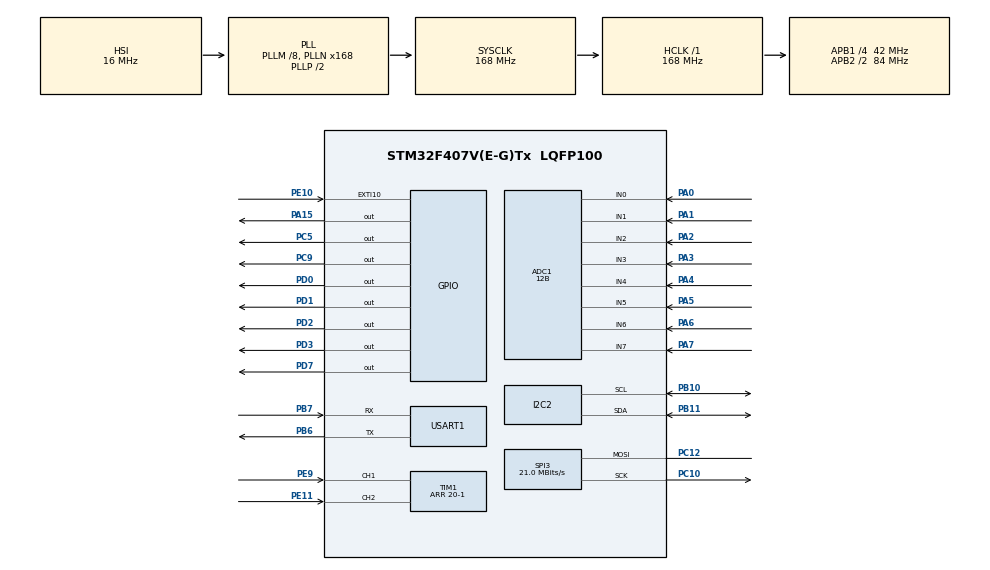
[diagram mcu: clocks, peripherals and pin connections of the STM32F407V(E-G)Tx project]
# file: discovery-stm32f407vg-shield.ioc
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ADC1.Channel-0\#ChannelRegularConversion=ADC_CHANNEL_0
ADC1.Channel-1\#ChannelRegularConversion=ADC_CHANNEL_1
ADC1.Channel-2\#ChannelRegularConversion=ADC_CHANNEL_2
ADC1.Channel-3\#ChannelRegularConversion=ADC_CHANNEL_3
ADC1.Channel-4\#ChannelRegularConversion=ADC_CHANNEL_4
ADC1.Channel-5\#ChannelRegularConversion=ADC_CHANNEL_5
ADC1.Channel-6\#ChannelRegularConversion=ADC_CHANNEL_6
ADC1.Channel-7\#ChannelRegularConversion=ADC_CHANNEL_7
ADC1.Channel-8\#ChannelRegularConversion=ADC_CHANNEL_VREFINT
ADC1.ClockPrescaler=ADC_CLOCK_SYNC_PCLK_DIV4
ADC1.ContinuousConvMode=ENABLE
ADC1.DMAContinuousRequests=ENABLE
ADC1.NbrOfConversion=9
ADC1.NbrOfConversionFlag=1
ADC1.Rank-0\#ChannelRegularConversion=1
ADC1.Rank-1\#ChannelRegularConversion=2
ADC1.Rank-2\#ChannelRegularConversion=3
ADC1.Rank-3\#ChannelRegularConversion=4
ADC1.Rank-4\#ChannelRegularConversion=5
ADC1.Rank-5\#ChannelRegularConversion=6
ADC1.Rank-6\#ChannelRegularConversion=7
ADC1.Rank-7\#ChannelRegularConversion=8
ADC1.Rank-8\#ChannelRegularConversion=9
ADC1.Resolution=ADC_RESOLUTION_12B
ADC1.SamplingTime-0\#ChannelRegularConversion=ADC_SAMPLETIME_56CYCLES
ADC1.SamplingTime-1\#ChannelRegularConversion=ADC_SAMPLETIME_56CYCLES
ADC1.SamplingTime-2\#ChannelRegularConversion=ADC_SAMPLETIME_56CYCLES
ADC1.SamplingTime-3\#ChannelRegularConversion=ADC_SAMPLETIME_56CYCLES
ADC1.SamplingTime-4\#ChannelRegularConversion=ADC_SAMPLETIME_56CYCLES
ADC1.SamplingTime-5\#ChannelRegularConversion=ADC_SAMPLETIME_56CYCLES
ADC1.SamplingTime-6\#ChannelRegularConversion=ADC_SAMPLETIME_56CYCLES
ADC1.SamplingTime-7\#ChannelRegularConversion=ADC_SAMPLETIME_56CYCLES
ADC1.SamplingTime-8\#ChannelRegularConversion=ADC_SAMPLETIME_56CYCLES
ADC1.ScanConvMode=ENABLE
ADC1.master=1
Dma.ADC1.0.Direction=DMA_PERIPH_TO_MEMORY
Dma.ADC1.0.FIFOMode=DMA_FIFOMODE_DISABLE
Dma.ADC1.0.Instance=DMA2_Stream0
Dma.ADC1.0.MemDataAlignment=DMA_MDATAALIGN_WORD
Dma.ADC1.0.MemInc=DMA_MINC_ENABLE
Dma.ADC1.0.Mode=DMA_CIRCULAR
Dma.ADC1.0.PeriphDataAlignment=DMA_PDATAALIGN_WORD
Dma.ADC1.0.PeriphInc=DMA_PINC_DISABLE
Dma.ADC1.0.Priority=DMA_PRIORITY_VERY_HIGH
Dma.Request0=ADC1
Dma.Request1=USART1_RX
Dma.Request2=USART1_TX
Dma.USART1_RX.1.Direction=DMA_PERIPH_TO_MEMORY
Dma.USART1_RX.1.FIFOMode=DMA_FIFOMODE_DISABLE
Dma.USART1_RX.1.Instance=DMA2_Stream5
Dma.USART1_RX.1.MemDataAlignment=DMA_MDATAALIGN_BYTE
Dma.USART1_RX.1.MemInc=DMA_MINC_ENABLE
Dma.USART1_RX.1.Mode=DMA_NORMAL
Dma.USART1_RX.1.PeriphDataAlignment=DMA_PDATAALIGN_BYTE
Dma.USART1_RX.1.PeriphInc=DMA_PINC_DISABLE
Dma.USART1_RX.1.Priority=DMA_PRIORITY_LOW
Dma.USART1_TX.2.Direction=DMA_MEMORY_TO_PERIPH
Dma.USART1_TX.2.FIFOMode=DMA_FIFOMODE_DISABLE
Dma.USART1_TX.2.Instance=DMA2_Stream7
Dma.USART1_TX.2.MemDataAlignment=DMA_MDATAALIGN_BYTE
Dma.USART1_TX.2.MemInc=DMA_MINC_ENABLE
Dma.USART1_TX.2.Mode=DMA_NORMAL
Dma.USART1_TX.2.PeriphDataAlignment=DMA_PDATAALIGN_BYTE
Dma.USART1_TX.2.PeriphInc=DMA_PINC_DISABLE
Dma.USART1_TX.2.Priority=DMA_PRIORITY_LOW
Mcu.Family=STM32F4
Mcu.Name=STM32F407V(E-G)Tx
Mcu.Package=LQFP100
NVIC.DMA2_Stream0_IRQn=true\:0\:0\:false\:false\:true\:false\:true
NVIC.DMA2_Stream5_IRQn=true\:0\:0\:false\:false\:true\:false\:true
NVIC.DMA2_Stream7_IRQn=true\:0\:0\:false\:false\:true\:false\:true
NVIC.EXTI15_10_IRQn=true\:0\:0\:false\:false\:true\:true\:true
NVIC.PriorityGroup=NVIC_PRIORITYGROUP_4
NVIC.TIM1_UP_TIM10_IRQn=true\:0\:0\:false\:false\:true\:true\:true
PA0-WKUP.Signal=ADCx_IN0
PA1.Signal=ADCx_IN1
PA13.Mode=Serial_Wire
PA13.Signal=SYS_JTMS-SWDIO
PA14.Mode=Serial_Wire
PA14.Signal=SYS_JTCK-SWCLK
PA15.Signal=GPIO_Output
PA2.Signal=ADCx_IN2
PA3.Signal=ADCx_IN3
PA4.Signal=ADCx_IN4
PA5.Signal=ADCx_IN5
PA6.Signal=ADCx_IN6
PA7.Signal=ADCx_IN7
PB10.GPIO_Pu=GPIO_PULLUP
PB10.Mode=I2C
PB10.Signal=I2C2_SCL
PB11.GPIO_Pu=GPIO_PULLUP
PB11.Mode=I2C
PB11.Signal=I2C2_SDA
PB6.Mode=Asynchronous
PB6.Signal=USART1_TX
PB7.Mode=Asynchronous
PB7.Signal=USART1_RX
PC10.Mode=Simplex_Bidirectional_Master
PC10.Signal=SPI3_SCK
PC12.Mode=Simplex_Bidirectional_Master
PC12.Signal=SPI3_MOSI
PC5.Signal=GPIO_Output
PC9.Signal=GPIO_Output
PD0.GPIO_Speed=GPIO_SPEED_FREQ_VERY_HIGH
PD0.Signal=GPIO_Output
PD1.GPIO_Speed=GPIO_SPEED_FREQ_VERY_HIGH
PD1.Signal=GPIO_Output
PD2.GPIO_Speed=GPIO_SPEED_FREQ_VERY_HIGH
PD2.Signal=GPIO_Output
PD3.GPIO_Speed=GPIO_SPEED_FREQ_VERY_HIGH
PD3.Signal=GPIO_Output
PD7.Signal=GPIO_Output
PE10.Signal=GPXTI10
PE11.Signal=S_TIM1_CH2
PE9.Signal=S_TIM1_CH1
PH0-OSC_IN.Mode=HSE-External-Oscillator
PH0-OSC_IN.Signal=RCC_OSC_IN
PH1-OSC_OUT.Mode=HSE-External-Oscillator
PH1-OSC_OUT.Signal=RCC_OSC_OUT
ProjectManager.HeapSize=0x200
ProjectManager.StackSize=0x400
ProjectManager.TargetToolchain=STM32CubeIDE
RCC.48MHZClocksFreq_Value=84000000
RCC.AHBFreq_Value=168000000
RCC.APB1CLKDivider=RCC_HCLK_DIV4
RCC.APB1Freq_Value=42000000
RCC.APB1TimFreq_Value=84000000
RCC.APB2CLKDivider=RCC_HCLK_DIV2
RCC.APB2Freq_Value=84000000
RCC.APB2TimFreq_Value=168000000
RCC.CortexFreq_Value=168000000
RCC.HCLKFreq_Value=168000000
RCC.HSE_VALUE=8000000
RCC.HSI_VALUE=16000000
RCC.LSE_VALUE=32768
RCC.PLLM=8
RCC.PLLN=168
RCC.SYSCLKFreq_VALUE=168000000
RCC.SYSCLKSource=RCC_SYSCLKSOURCE_PLLCLK
RCC.VCOOutputFreq_Value=336000000
SH.ADCx_IN0.0=ADC1_IN0,IN0
SH.ADCx_IN1.0=ADC1_IN1,IN1
SH.ADCx_IN2.0=ADC1_IN2,IN2
SH.ADCx_IN3.0=ADC1_IN3,IN3
SH.ADCx_IN4.0=ADC1_IN4,IN4
SH.ADCx_IN5.0=ADC1_IN5,IN5
SH.ADCx_IN6.0=ADC1_IN6,IN6
SH.ADCx_IN7.0=ADC1_IN7,IN7
SH.S_TIM1_CH1.0=TIM1_CH1,Encoder_Interface
SH.S_TIM1_CH2.0=TIM1_CH2,Encoder_Interface
SPI3.CalculateBaudRate=21.0 MBits/s
SPI3.Direction=SPI_DIRECTION_1LINE
SPI3.Mode=SPI_MODE_MASTER
SPI3.VirtualType=VM_MASTER
TIM1.Period=20-1
USART1.VirtualMode=VM_ASYNC
VP_ADC1_Vref_Input.Mode=IN-Vrefint
board=custom

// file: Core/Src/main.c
/* USER CODE BEGIN Header */
/**
  ******************************************************************************
  * @file           : main.c
  * @brief          : Main program body
  ******************************************************************************
  * @attention
  *
  * <h2><center>&copy; Copyright (c) 2020 STMicroelectronics.
  * All rights reserved.</center></h2>
  *
  * This software component is licensed by ST under BSD 3-Clause license,
  * the "License"; You may not use this file except in compliance with the
  * License. You may obtain a copy of the License at:
  *                        opensource.org/licenses/BSD-3-Clause
  *
  ******************************************************************************
  */
/* USER CODE END Header */
#include "main.h"
#include "adc.h"
#include "dma.h"
#include "i2c.h"
#include "spi.h"
#include "tim.h"
#include "usart.h"
#include "gpio.h"

/* USER CODE BEGIN Includes */
//includes all user defined headers
#include "system.h"
/* USER CODE END Includes */

/* USER CODE BEGIN PD */
#define ADC_VREFINT_NUMBER 8
#define THERMISTORS_FIR_NUMBER 4
#define PHOTODIODES_FIR_NUMBER 4
/* USER CODE END PD */

/* USER CODE BEGIN PV */
_Bool FIR_flag = false;
FIRFilter moving_average_thermistors[THERMISTORS_FIR_NUMBER];
FIRFilter moving_average_photodiodes[PHOTODIODES_FIR_NUMBER];

	/*
	 * ---- INFO ----
	 *
	 * THERMISTORS
	 * ADC1read[0]  - thermistor[0]
	 * ADC1read[1]  - thermistor[1]
	 * ADC1read[2]  - thermistor[2]
	 * ADC1read[3]  - thermistor[3]
	 *
	 * PHOTODIODES
	 * ADC1read[4]  - photodiode[0]
	 * ADC1read[5]  - photodiode[1]
	 * ADC1read[6]  - photodiode[2]
	 * ADC1read[7]  - photodiode[3]
	 *
	 * VREFINT
	 * ADC1read[8]  - vref internal channel
	 */

/* USER CODE END PV */

void SystemClock_Config(void);
/* USER CODE BEGIN PFP */
_Bool Average_IsLimit(DAQ_channel_no);
void menu_encoder_event(void);
void display_values(void);
void calculate_thermistors_data(void);
void calculate_photodiodes_data(void);
void send_thermistors_data(void);
void send_photodiodes_data(void);
void HAL_TIM_PeriodElapsedCallback(TIM_HandleTypeDef *htim);
void HAL_UART_RxCpltCallback(UART_HandleTypeDef *huart);
void HAL_ADC_ConvCpltCallback(ADC_HandleTypeDef *hadc);

/* USER CODE END PFP */

int main(void)
{

  /* MCU Configuration--------------------------------------------------------*/

  /* Reset of all peripherals, Initializes the Flash interface and the Systick. */
  HAL_Init();

  /* Configure the system clock */
  SystemClock_Config();

  /* Initialize all configured peripherals */
  MX_GPIO_Init();
  MX_DMA_Init();
  MX_ADC1_Init();
  MX_USART1_UART_Init();
  MX_I2C2_Init();
  MX_SPI3_Init();
  MX_TIM1_Init();
  /* USER CODE BEGIN 2 */
/* -------------------------------------------------------------------------------- */
/* -- TIMERS START -- */
/* -------------------------------------------------------------------------------- */
  HAL_TIM_Encoder_Start(&htim1, TIM_CHANNEL_ALL);
 // HAL_TIM_Base_Start_IT(&htim10);

/* -------------------------------------------------------------------------------- */
/* -- USART Rx DMA START -- */
/* -------------------------------------------------------------------------------- */
//  HAL_UART_Receive_DMA(&huart1, Received, 13);

/* -------------------------------------------------------------------------------- */
/* -- CREATE ENCODER -- */
/* -------------------------------------------------------------------------------- */
  encoder_struct_init(&encoder_1, &htim1);

/* -------------------------------------------------------------------------------- */
/* -- LCD ST7735 SCREEN INIT -- */
/* -------------------------------------------------------------------------------- */
  ST7735_Init(1);

/* -------------------------------------------------------------------------------- */
/* -- MENU INIT -- */
/* -------------------------------------------------------------------------------- */
  GUI_init();
  Menu_Show();

/* -------------------------------------------------------------------------------- */
/* -- ADC1 START 9 channels -- */
/* -------------------------------------------------------------------------------- */
  HAL_ADC_Start_DMA(&hadc1, (uint32_t*)ADC1read, 9);   // frequency > 10kHz( 0.1 ms/100us )

/* -------------------------------------------------------------------------------- */
/* -- Initialise channels  -- */
/* -------------------------------------------------------------------------------- */
  DAQ_channel_init(DAQ_CH1, CHANNEL_1_GPIO_TypeDef, CHANNEL_1_GPIO_Pin, &thermistor[0], &photodiode[0]);
  DAQ_channel_init(DAQ_CH2, CHANNEL_2_GPIO_TypeDef, CHANNEL_2_GPIO_Pin, &thermistor[1], &photodiode[1]);
  DAQ_channel_init(DAQ_CH3, CHANNEL_3_GPIO_TypeDef, CHANNEL_3_GPIO_Pin, &thermistor[2], &photodiode[2]);
  DAQ_channel_init(DAQ_CH4, CHANNEL_4_GPIO_TypeDef, CHANNEL_4_GPIO_Pin, &thermistor[3], &photodiode[3]);

  HAL_Delay(500);

  DAQ_channel_set_th_limit(DAQ_CH1, 2500);
  DAQ_channel_set_ph_limit(DAQ_CH1, 50000);

  DAQ_channel_set_th_limit(DAQ_CH2, 2500);
  DAQ_channel_set_ph_limit(DAQ_CH2, 50000);

  DAQ_channel_set_th_limit(DAQ_CH3, 2500);
  DAQ_channel_set_ph_limit(DAQ_CH3, 50000);

  DAQ_channel_set_th_limit(DAQ_CH4, 2500);
  DAQ_channel_set_ph_limit(DAQ_CH4, 50000);

  for(uint8_t i = 0; i < THERMISTORS_FIR_NUMBER; i++) {
	  FIRFilter_Init(&moving_average_thermistors[i]);
  }
  for(uint8_t i = 0; i < PHOTODIODES_FIR_NUMBER; i++) {
  	  FIRFilter_Init(&moving_average_photodiodes[i]);
  }

  /* USER CODE END 2 */

  /* Infinite loop */
  /* USER CODE BEGIN WHILE */

  menu_flags.flag_encoder_event = true;
  uint32_t value = 0;
  while (1)
  {
	if(menu_flags.flag_function && !menu_flags.flag_CHANGE_value && !menu_flags.flag_change_finish && encoder_enter(&encoder_1))  {
		menu_flags.flag_function = false;
		menu_flags.flag_display_measurements = false;
		menu_flags.flag_show_menu = true;
	}

	if(!menu_flags.flag_function && !menu_flags.flag_CHANGE_value) {
		menu_encoder_event();
	}

	if(menu_flags.flag_clear_screen) {
		ST7735_FillScreen(BLACK);
		menu_flags.flag_clear_screen = false;
	}

	if(menu_flags.flag_show_menu) {
		ST7735_FillScreen(BLACK);
		Menu_Show();
		menu_flags.flag_show_menu = false;
	}

	if(menu_flags.flag_function) {

		for(uint8_t i = 0; i<NUMBER_OF_CHANNELS; i++) {
			if(DAQ_channel_get_flag_enable(i)) {
				DAQ_CHANGE_enable(i);
				DAQ_channel_set_flag_enable(i, false);
			}

			else if(DAQ_channel_get_flag_th_limit(i)) {

				if(menu_flags.flag_change_finish) {
					DAQ_channel_set_th_limit(i,value);
					menu_flags.flag_change_finish = false;
					menu_flags.flag_CHANGE_value = false;
					menu_flags.flag_CHANGE_cursor = false;
					menu_flags.flag_CHANGE_temperature = false;

				}
				else {
					value = DAQ_channel_get_th_limit(i);
					menu_flags.flag_CHANGE_value = true;
					menu_flags.flag_CHANGE_cursor = true;
					menu_flags.flag_CHANGE_temperature = true;
					menu_flags.flag_clear_screen = true;
				}

				menu_flags.flag_function = false;

			}

			else if(DAQ_channel_get_flag_ph_limit(i)) {
				if(menu_flags.flag_change_finish) {
					DAQ_channel_set_ph_limit(i,value);
					menu_flags.flag_change_finish = false;
					menu_flags.flag_CHANGE_value = false;
					menu_flags.flag_CHANGE_cursor = false;
					menu_flags.flag_CHANGE_power = false;

				}
				else {
					value = DAQ_channel_get_ph_limit(i);
					menu_flags.flag_CHANGE_value = true;
					menu_flags.flag_CHANGE_cursor = true;
					menu_flags.flag_CHANGE_power = true;
					menu_flags.flag_clear_screen = true;
				}

				menu_flags.flag_function = false;
			}

			else if(DAQ_channel_get_flag_save(i)) {
				DAQ_CHANGE_save(i);
			}
		}

		if(menu_flags.flag_display_measurements) {
			display_values();
		}
	}

	if(menu_flags.flag_CHANGE_value){
		value = MENU_CHANGE_value(value);

	}

	if(FIR_flag) {
		for(int channel_no = 0; channel_no<NUMBER_OF_CHANNELS; channel_no++) {
			FIRFilter_Update(&moving_average_thermistors[channel_no], ADC1read[channel_no]);
			FIRFilter_Update(&moving_average_photodiodes[channel_no], ADC1read[channel_no+4]);
		}

		FIR_flag = false;
	}
    /* USER CODE END WHILE */

  }
}

void SystemClock_Config(void)
{
  RCC_OscInitTypeDef RCC_OscInitStruct = {0};
  RCC_ClkInitTypeDef RCC_ClkInitStruct = {0};

  /** Configure the main internal regulator output voltage
  */
  __HAL_RCC_PWR_CLK_ENABLE();
  __HAL_PWR_VOLTAGESCALING_CONFIG(PWR_REGULATOR_VOLTAGE_SCALE1);
  /** Initializes the RCC Oscillators according to the specified parameters
  * in the RCC_OscInitTypeDef structure.
  */
  RCC_OscInitStruct.OscillatorType = RCC_OSCILLATORTYPE_HSI;
  RCC_OscInitStruct.HSIState = RCC_HSI_ON;
  RCC_OscInitStruct.HSICalibrationValue = RCC_HSICALIBRATION_DEFAULT;
  RCC_OscInitStruct.PLL.PLLState = RCC_PLL_ON;
  RCC_OscInitStruct.PLL.PLLSource = RCC_PLLSOURCE_HSI;
  RCC_OscInitStruct.PLL.PLLM = 8;
  RCC_OscInitStruct.PLL.PLLN = 168;
  RCC_OscInitStruct.PLL.PLLP = RCC_PLLP_DIV2;
  RCC_OscInitStruct.PLL.PLLQ = 4;
  if (HAL_RCC_OscConfig(&RCC_OscInitStruct) != HAL_OK)
  {
    Error_Handler();
  }
  /** Initializes the CPU, AHB and APB buses clocks
  */
  RCC_ClkInitStruct.ClockType = RCC_CLOCKTYPE_HCLK|RCC_CLOCKTYPE_SYSCLK
                              |RCC_CLOCKTYPE_PCLK1|RCC_CLOCKTYPE_PCLK2;
  RCC_ClkInitStruct.SYSCLKSource = RCC_SYSCLKSOURCE_PLLCLK;
  RCC_ClkInitStruct.AHBCLKDivider = RCC_SYSCLK_DIV1;
  RCC_ClkInitStruct.APB1CLKDivider = RCC_HCLK_DIV4;
  RCC_ClkInitStruct.APB2CLKDivider = RCC_HCLK_DIV2;

  if (HAL_RCC_ClockConfig(&RCC_ClkInitStruct, FLASH_LATENCY_5) != HAL_OK)
  {
    Error_Handler();
  }
}

/* USER CODE BEGIN 4 */
void menu_encoder_event(void) {

	  if( encoder_step_clockwise(&encoder_1) == true) {
		Menu_SelectNext();
	  }
	  if(encoder_step_counterclockwise(&encoder_1) == true) {
		Menu_SelectPrev();
	  }
	  if(encoder_enter(&encoder_1) == true) {
	  		Menu_Click();
	  }
}

void display_values(void) {

	for(int i = 0; i<4; i++) {
		photodiode[i].power_value = photodiode_ADC_to_power(moving_average_photodiodes[i].out, ADC1read[8]);
	}
	for(int i = 0; i<4; i++) {
		thermistor[i].temperature_value = ntc3950_ADC_to_Celcius(moving_average_thermistors[i].out, ADC1read[8]);
	}

	char text[8][12];
	for (int i = 0; i<4; i++) {
		sprintf(text[i], "T%d:%.2fC < %.2fC", i, thermistor[i].temperature_value, thermistor[i].temperature_max_value);
		ST7735_WriteString(2, 2+(30*i), text[i], Font_7x10, WHITE, BLACK);

		sprintf(text[i], "P%d:%.2fmW < %.2fmW", i, photodiode[i].power_value, photodiode[i].power_max_value);
		ST7735_WriteString(2, 17+(30*i), text[i], Font_7x10, WHITE, BLACK);
	}

}

_Bool Average_IsLimit(DAQ_channel_no no) {
	if (moving_average_photodiodes[no].out >= DAQ_channel[no].ph->ADC_max_value || moving_average_thermistors[no].out <= DAQ_channel[no].th->ADC_max_value) {
		return true;
	}
	else
	return false;
}

void HAL_UART_RxCpltCallback(UART_HandleTypeDef *huart)
{
//	 HAL_UART_Receive_DMA(&huart1, Received, 13); // Ponowne włączenie nasłuchiwania
}

void HAL_ADC_ConvCpltCallback(ADC_HandleTypeDef *hadc) {

	FIR_flag = true;

	for(int channel_no = 0; channel_no<NUMBER_OF_CHANNELS; channel_no++) {

		if(Average_IsLimit(channel_no))
			 {
				DAQ_channel_off(channel_no);
			 }
	}

}

/* USER CODE END 4 */

void Error_Handler(void)
{
}
